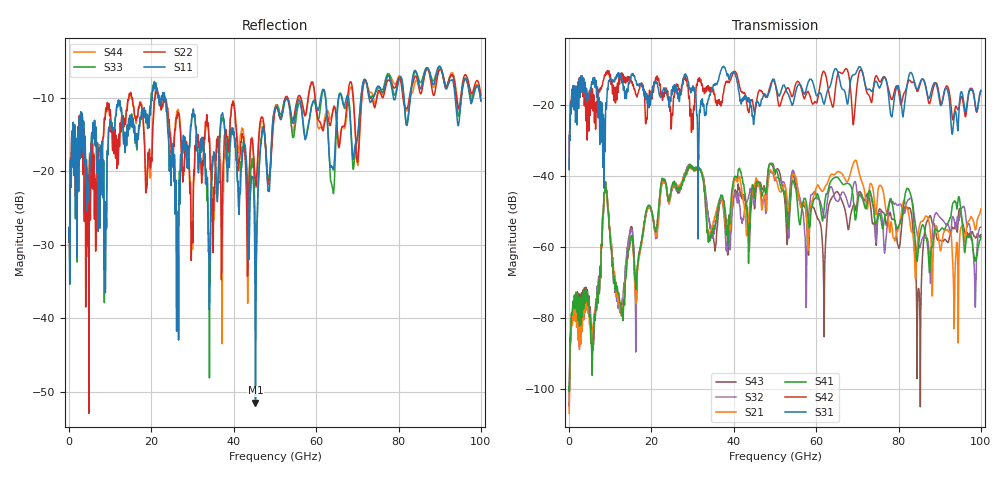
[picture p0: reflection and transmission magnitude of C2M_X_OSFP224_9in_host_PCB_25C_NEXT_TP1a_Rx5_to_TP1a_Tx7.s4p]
# GHz S RI R 45
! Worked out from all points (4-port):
!   4000 points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, 25 MHz to 100 GHz, reference 45 ohm
!   strongest paths, dB at 25 MHz, 25.02 GHz, 50.02 GHz, 75.03 GHz, 100 GHz:
!     S31: -38.1, -16.8, -13.7, -14.4, -15.8
!     S42: -37.9, -22.2, -13.8, -12.5, -15.9
!     S41: -99.2, -42.9, -38.7, -51.7, -57.0
!     S21: -106.9, -43.5, -40.8, -44.0, -49.2
!     S32: -104.8, -44.0, -41.3, -50.3, -54.3
!     S43: -104.7, -43.4, -39.4, -51.0, -56.5
!   lowest |S11| = -51.5 dB at 45.27 GHz (marker M1), VSWR 1.01, Z = 45.2 + j0.00654 ohm
!   |S11| at or under -10 dB: start of sweep to 20 GHz; 23.22 GHz to 61.13 GHz (37.9 GHz wide, 89.9 % of centre); 62.26 GHz to 65.43 GHz (3.166 GHz wide, 4.96 % of centre) (the widest 3 of 15)
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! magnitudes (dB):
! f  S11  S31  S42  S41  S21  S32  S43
! 25 MHz  -29.4  -38.1  -37.9  -99.2  -106.9  -104.8  -104.7
! 5.975 GHz  -14.8  -13.6  -17.0  -83.8  -81.2  -82.6  -87.2
! 8.875 GHz  -29.7  -21.5  -11.1  -41.6  -41.7  -41.7  -41.6
! 12.7 GHz  -11.4  -11.9  -11.5  -78.7  -79.1  -77.7  -78.6
! 22.85 GHz  -9.5  -15.7  -16.5  -40.9  -41.7  -41.6  -40.8
! 45.27 GHz  -51.5  -20.3  -21.0  -43.2  -41.3  -42.1  -45.8
! 100 GHz  -10.4  -15.8  -15.9  -57.0  -49.2  -54.3  -56.5
